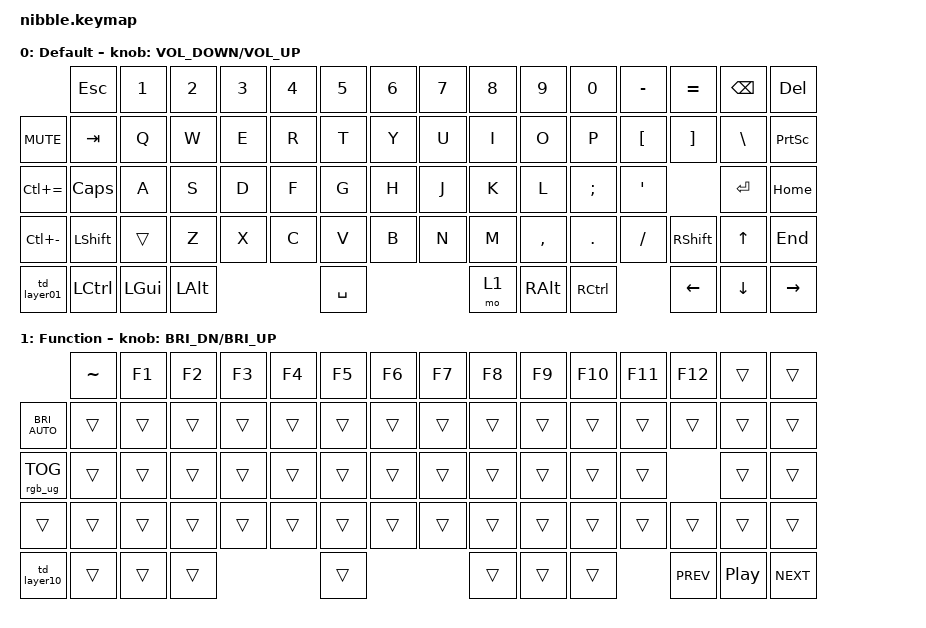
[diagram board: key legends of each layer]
/*
 * Copyright (c) 2020 The ZMK Contributors
 *
 * SPDX-License-Identifier: MIT
 */

#include <behaviors.dtsi>
#include <dt-bindings/zmk/keys.h>
#include <dt-bindings/zmk/bt.h>
#include <dt-bindings/zmk/ext_power.h>
#include <dt-bindings/zmk/rgb.h>
#include <dt-bindings/led/led.h>

&spi1 {
	compatible = "nordic,nrf-spim";
	status = "okay";
	mosi-pin = <11>;
	// Unused pins, needed for SPI definition, but not used by the ws2812 driver itself.
	sck-pin = <5>;
	miso-pin = <7>;

	led_strip: ws2812@0 {
		compatible = "worldsemi,ws2812-spi";
		label = "WS2812";

		/* SPI */
		reg = <0>; /* ignored, but necessary for SPI bindings */
		spi-max-frequency = <4000000>;

		/* WS2812 */
		chain-length = <10>; /* number of LEDs */
		spi-one-frame = <0x70>;
		spi-zero-frame = <0x40>;
		color-mapping = <LED_COLOR_ID_GREEN LED_COLOR_ID_RED LED_COLOR_ID_BLUE>;
	};
};

/ {
	/* Macros */
	macros {
        layer_toggle_rgb_mo1: layer_toggle_rgb_mo1 {
            label = "layer_toggle_rgb_mo1";
            compatible = "zmk,behavior-macro";
            #binding-cells = <0>;
			wait-ms = <0>;
			tap-ms = <0>;
            bindings
                = <&macro_press &mo 1>
    			, <&macro_tap &rgb_ug RGB_COLOR_HSB(250, 60, 100)>
    			, <&macro_pause_for_release>
    			, <&macro_release &mo 1>
    			, <&macro_tap &rgb_ug RGB_COLOR_HSB(300, 60, 100)>;
        };

		    layer_toggle_rgb_tog1: layer_toggle_rgb_tog1 {
            label = "layer_toggle_rgb_tog1";
            compatible = "zmk,behavior-macro";
            #binding-cells = <0>;
			wait-ms = <0>;
			tap-ms = <0>;
            bindings
                = <&macro_press &tog 1>
    			, <&macro_tap &rgb_ug RGB_COLOR_HSB(250, 60, 100)>;
        };

		layer_toggle_rgb_tog2: layer_toggle_rgb_tog2 {
            label = "layer_toggle_rgb_tog2";
            compatible = "zmk,behavior-macro";
            #binding-cells = <0>;
			wait-ms = <0>;
			tap-ms = <0>;
            bindings
                = <&macro_press &tog 1>
    			, <&macro_tap &rgb_ug RGB_COLOR_HSB(300, 60, 100)>;
        };
    };

	/* RGB Setup */
	chosen {
		zephyr,display = &oled;
		zmk,kscan = &kscan0;
		zmk,matrix_transform = &default_transform;
		zmk,underglow = &led_strip;
	};

	/* Encoder Setup */
	sensors {
		compatible = "zmk,keymap-sensors";
		sensors = <&encoder_1>;
	};

	/* Tap Dance Setup */
	behaviors {
        td_layer01: td_layer01 {
            compatible = "zmk,behavior-tap-dance";
            label = "TAP_DANCE_LAYER01";
            #binding-cells = <0>;
            tapping-term-ms = <200>;
            bindings = <&layer_toggle_rgb_mo1>, <&layer_toggle_rgb_tog1>;
        };

		td_layer10: td_layer10 {
            compatible = "zmk,behavior-tap-dance";
            label = "TAP_DANCE_LAYER10";
            #binding-cells = <0>;
            tapping-term-ms = <200>;
            bindings = <&layer_toggle_rgb_mo1>, <&layer_toggle_rgb_tog2>;
        };
    };

	keymap {
		compatible = "zmk,keymap";

		default_layer {
				label = "Default";

				sensor-bindings = <&inc_dec_kp C_VOLUME_DOWN C_VOLUME_UP>;

				bindings = <
            	&kp ESC   &kp N1    &kp N2    &kp N3    &kp N4    &kp N5    &kp N6    &kp N7    &kp N8  &kp N9    &kp N0    &kp MINUS &kp EQUAL &kp BSPC &kp DEL
&kp C_MUTE  	&kp TAB   &kp Q     &kp W     &kp E     &kp R     &kp T     &kp Y     &kp U     &kp I   &kp O     &kp P     &kp LBKT  &kp RBKT  &kp BSLH &kp PSCRN
&kp LC(EQUAL)   &kp CLCK  &kp A     &kp S     &kp D     &kp F     &kp G     &kp H     &kp J     &kp K   &kp L     &kp SEMI  &kp SQT             &kp RET  &kp HOME
&kp LC(MINUS)   &kp LSHFT &trans    &kp Z     &kp X     &kp C     &kp V     &kp B     &kp N     &kp M   &kp COMMA &kp DOT   &kp FSLH  &kp RSHFT &kp UP   &kp END
&td_layer01     &kp LCTRL &kp LGUI  &kp LALT                      &kp SPACE                     &mo 1   &kp RALT      &kp RCTRL           &kp LEFT  &kp DOWN &kp RIGHT
			>;
		}; 
		function_layer {
				label = "Function";
			
				sensor-bindings = <&inc_dec_kp C_BRI_DN C_BRI_UP>;

				bindings = <
            	&kp TILDE &kp F1    &kp F2    &kp F3    &kp F4    &kp F5    &kp F6    &kp F7    &kp F8  &kp F9    &kp F10   &kp F11   &kp F12   &trans   &trans
&kp C_BRI_AUTO  &trans    &trans    &trans    &trans    &trans    &trans    &trans    &trans    &trans  &trans    &trans    &trans    &trans    &trans   &trans
&rgb_ug RGB_TOG &trans    &trans    &trans    &trans    &trans    &trans    &trans    &trans    &trans  &trans    &trans    &trans              &trans   &trans
&trans          &trans    &trans    &trans    &trans    &trans    &trans    &trans    &trans    &trans  &trans    &trans    &trans    &trans    &trans   &trans
&td_layer10    	&trans    &trans    &trans                        &trans                        &trans  &trans    &trans    &kp C_PREV          &kp C_PP &kp C_NEXT
			>;
		};
	};
};
